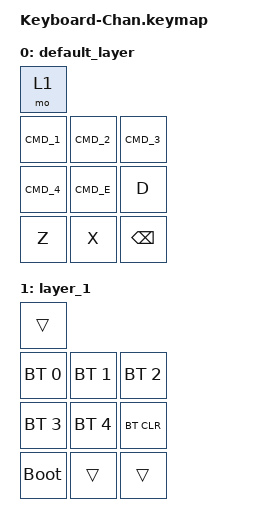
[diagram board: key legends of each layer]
#include <behaviors.dtsi>
#include <dt-bindings/zmk/keys.h>
#include <dt-bindings/zmk/bt.h>

/ {

    macros {
        CMD_E: CMD_E {
            compatible = "zmk,behavior-macro";
            #binding-cells = <0>;
            bindings
                = <&macro_press &kp LGUI>
                , <&macro_tap &kp E>
                , <&macro_release &kp LGUI>;
        };

        CMD_1: CMD_1 {
            compatible = "zmk,behavior-macro";
            #binding-cells = <0>;
            bindings
                = <&macro_press &kp LGUI>
                , <&macro_tap &kp N1>
                , <&macro_release &kp LGUI>;
        };

        CMD_2: CMD_2 {
            compatible = "zmk,behavior-macro";
            #binding-cells = <0>;
            bindings
                = <&macro_press &kp LGUI>
                , <&macro_tap &kp N2>
                , <&macro_release &kp LGUI>;
        };

        CMD_3: CMD_3 {
            compatible = "zmk,behavior-macro";
            #binding-cells = <0>;
            bindings
                = <&macro_press &kp LGUI>
                , <&macro_tap &kp N3>
                , <&macro_release &kp LGUI>;
        };

        CMD_4: CMD_4 {
            compatible = "zmk,behavior-macro";
            #binding-cells = <0>;
            bindings
                = <&macro_press &kp LGUI>
                , <&macro_tap &kp N4>
                , <&macro_release &kp LGUI>;
        };
    };


    keymap {
        compatible = "zmk,keymap";

        default_layer {
            bindings = <
                &mo 1

                &CMD_1    &CMD_2    &CMD_3
                &CMD_4    &CMD_E    &kp D
                &kp Z     &kp X     &kp BACKSPACE
            >;
        };

        layer_1 {
            bindings = <
                &trans

                &bt BT_SEL 0   &bt BT_SEL 1   &bt BT_SEL 2
                &bt BT_SEL 3   &bt BT_SEL 4   &bt BT_CLR
                &bootloader         &trans         &trans
            >;
        };
    };
};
